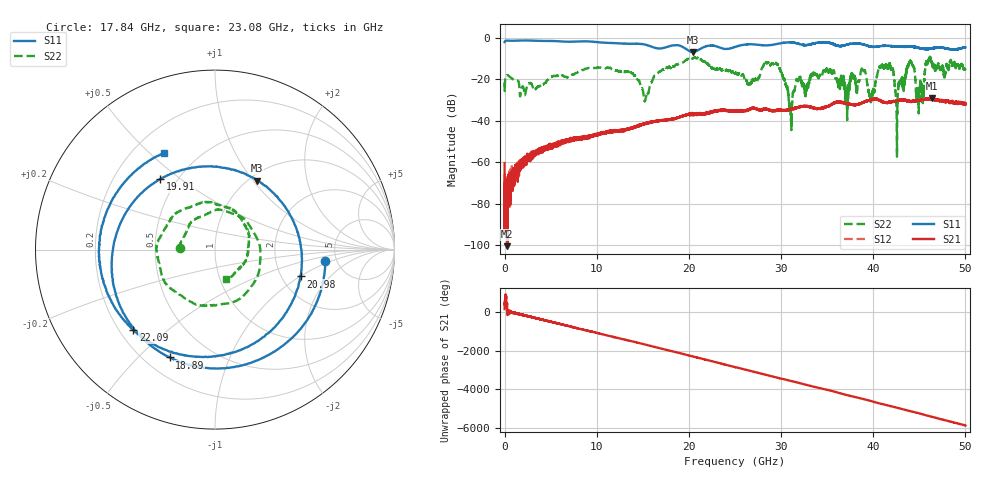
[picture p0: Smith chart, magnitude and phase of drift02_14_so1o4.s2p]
!Created with skrf (http://scikit-rf.org).
# Hz S RI R 50.0
!freq ReS11 ImS11 ReS21 ImS21 ReS12 ImS12 ReS22 ImS22
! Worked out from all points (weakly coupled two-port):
!   10001 points, 300 kHz to 50 GHz, reference 50 ohm
!   highest |S21| = -29.14 dB at 46.38 GHz (marker M1); lowest = -100.5 dB at 280.3 MHz (marker M2)
!   lowest |S11| = -6.9 dB at 20.4 GHz (marker M3), VSWR 2.63, Z = 54.1 + j52.2 ohm
!   |S11| at or under -10 dB: nowhere
!   |S22| runs from -57.4 to -9.2 dB; largest |S21 - S12| = 0.0035
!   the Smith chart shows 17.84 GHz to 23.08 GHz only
!   S11 on the Smith chart (normalised r, x): 17.84 GHz: 4.07, -0.82; 18.89 GHz: 0.30, -0.62; 19.91 GHz: 0.40, +0.42; 20.98 GHz: 2.53, -1.01; 22.09 GHz: 0.26, -0.39; 23.08 GHz: 0.32, +0.56
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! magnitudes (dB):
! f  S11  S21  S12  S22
! 300 kHz  -2.1  -60.4  -65.9  -21.6
! 280.3 MHz  -1.4  -100.5  -72.7  -18.0
! 8.335 GHz  -1.7  -47.8  -48.2  -15.8
! 15.31 GHz  -3.4  -41.2  -41.3  -29.2
! 16.67 GHz  -5.2  -40.1  -40.2  -16.9
! 17.84 GHz  -4.2  -39.3  -39.4  -14.1
! 18.89 GHz  -3.7  -38.3  -38.4  -12.6
! 19.91 GHz  -6.1  -37.1  -37.1  -10.2
! 20.4 GHz  -6.9  -37.3  -36.9  -10.0
! 20.98 GHz  -6.0  -36.6  -36.3  -9.8
! 22.09 GHz  -3.9  -36.5  -36.3  -12.8
! 23.08 GHz  -4.3  -35.3  -35.1  -15.0
! 25 GHz  -4.5  -35.4  -35.4  -17.3
! 29.5 GHz  -3.1  -35.0  -35.2  -12.5
! 31.03 GHz  -2.3  -34.3  -34.8  -36.1
! 33.34 GHz  -3.1  -33.5  -33.4  -18.2
! 38.92 GHz  -3.3  -31.2  -31.2  -16.0
! 39.76 GHz  -4.4  -30.1  -29.9  -28.7
! 41.67 GHz  -4.0  -31.0  -31.1  -13.4
! 42.56 GHz  -4.3  -30.3  -30.2  -43.8
! 46.38 GHz  -5.1  -29.1  -29.4  -11.9
! 50 GHz  -4.7  -32.2  -32.2  -15.2
